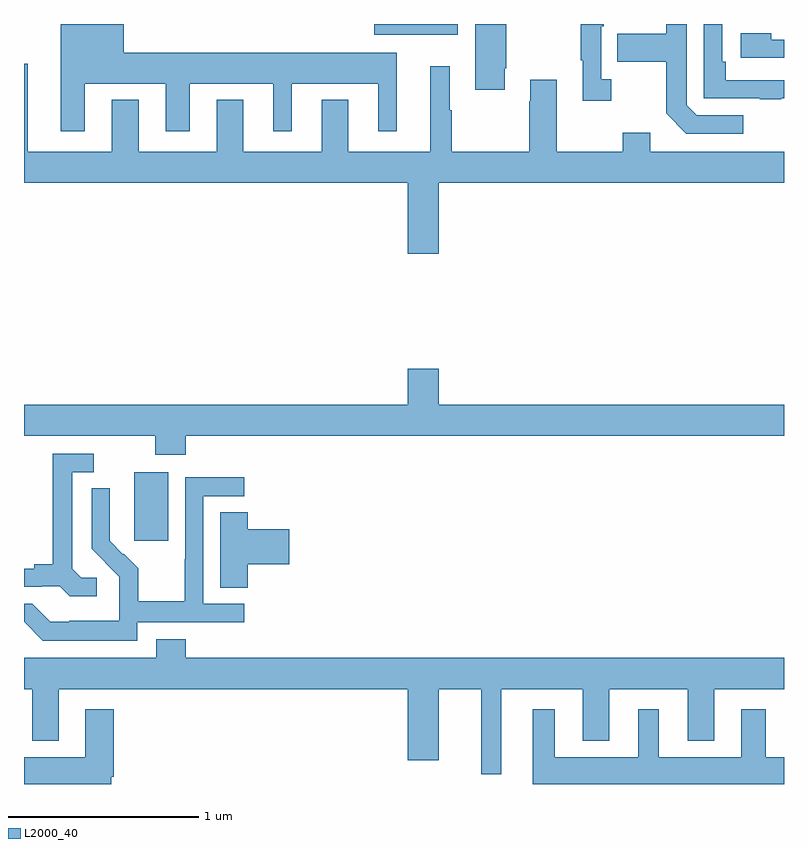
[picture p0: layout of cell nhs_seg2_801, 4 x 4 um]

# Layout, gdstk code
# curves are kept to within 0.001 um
import gdstk
lib = gdstk.Library(unit=1e-6, precision=1e-09)
def R(c, l, rs):  # rectangles x0, y0, x1, y1
    for r in rs: c.add(gdstk.rectangle(r[:2], r[2:], *l))
def P(c, l, *ps):  # polygons
    for p in ps: c.add(gdstk.Polygon(p, *l))
L2000_40 = (2000, 40)

nhs_seg2_801 = lib.new_cell('nhs_seg2_801')
R(nhs_seg2_801, L2000_40, [(151.58,651.081,151.759,651.442), (152.844,653.744,153.283,653.8)])
P(nhs_seg2_801, L2000_40, [(154.985,653.409),(155,653.409),(155,653.505),(154.694,653.505),(154.694,653.602),(154.674,653.602),(154.674,653.8),(154.578,653.8),(154.578,653.409),(154.873,653.409),(154.873,653.404),(154.985,653.404)],
  [(154.09,653.51),(154.038,653.51),(154.038,653.789),(154.051,653.789),(154.051,653.8),(153.93,653.8),(153.93,653.609),(153.941,653.609),(153.941,653.397),(154.09,653.397)],
  [(153.529,653.566),(153.537,653.566),(153.537,653.8),(153.374,653.8),(153.374,653.454),(153.529,653.454)],
  [(154.786,653.319),(154.542,653.319),(154.488,653.373),(154.488,653.8),(154.38,653.8),(154.38,653.749),(154.123,653.749),(154.123,653.602),(154.38,653.602),(154.38,653.329),(154.485,653.223),(154.786,653.223)],
  [(151.321,653.486),(151.745,653.486),(151.745,653.235),(151.873,653.235),(151.873,653.486),(152.312,653.486),(152.312,653.235),(152.41,653.235),(152.41,653.486),(152.864,653.486),(152.864,653.235),(152.962,653.235),(152.962,653.65),(151.525,653.65),(151.525,653.8),(151.193,653.8),(151.193,653.235),(151.321,653.235)],
  [(155,653.718),(154.934,653.718),(154.934,653.752),(154.773,653.752),(154.773,653.622),(155,653.622)],
  [(153.184,652.964),(155,652.964),(155,653.128),(154.297,653.128),(154.297,653.227),(154.15,653.227),(154.15,653.128),(153.805,653.128),(153.805,653.506),(153.665,653.506),(153.665,653.393),(153.658,653.393),(153.658,653.128),(153.251,653.128),(153.251,653.345),(153.241,653.345),(153.241,653.578),(153.137,653.578),(153.137,653.128),(152.707,653.128),(152.707,653.401),(152.567,653.401),(152.567,653.128),(152.155,653.128),(152.155,653.401),(152.015,653.401),(152.015,653.128),(151.603,653.128),(151.603,653.401),(151.463,653.401),(151.463,653.128),(151.021,653.128),(151.021,653.59),(151,653.59),(151,652.964),(153.02,652.964),(153.02,652.59),(153.184,652.59)],
  [(151.85,651.632),(155,651.632),(155,651.796),(153.184,651.796),(153.184,651.985),(153.02,651.985),(153.02,651.796),(151,651.796),(151,651.632),(151.69,651.632),(151.69,651.533),(151.85,651.533)],
  [(151.384,650.886),(151.302,650.886),(151.255,650.933),(151.255,651.441),(151.366,651.441),(151.366,651.537),(151.151,651.537),(151.151,650.957),(151.055,650.957),(151.055,650.934),(151,650.934),(151,650.838),(151.094,650.838),(151.094,650.841),(151.188,650.841),(151.24,650.789),(151.384,650.789)],
  [(151.596,650.652),(152.158,650.652),(152.158,650.748),(151.944,650.748),(151.944,651.315),(152.158,651.315),(152.158,651.414),(151.848,651.414),(151.848,650.984),(151.846,650.984),(151.846,650.761),(151.601,650.761),(151.601,650.935),(151.524,651.012),(151.521,651.009),(151.451,651.08),(151.452,651.356),(151.356,651.356),(151.356,651.038),(151.502,650.89),(151.502,650.793),(151.5,650.793),(151.5,650.659),(151.237,650.659),(151.237,650.655),(151.137,650.655),(151.044,650.748),(151,650.748),(151,650.654),(151.099,650.555),(151.596,650.555)],
  [(152.177,650.957),(152.395,650.957),(152.395,651.14),(152.177,651.14),(152.177,651.23),(152.033,651.23),(152.033,650.833),(152.177,650.833)],
  [(153.511,650.3),(153.941,650.3),(153.941,650.027),(154.081,650.027),(154.081,650.3),(154.493,650.3),(154.493,650.027),(154.633,650.027),(154.633,650.3),(155,650.3),(155,650.464),(151.85,650.464),(151.85,650.563),(151.697,650.563),(151.697,650.464),(151,650.464),(151,650.3),(151.043,650.3),(151.043,650.027),(151.183,650.027),(151.183,650.3),(153.02,650.3),(153.02,649.926),(153.184,649.926),(153.184,650.3),(153.407,650.3),(153.407,649.851),(153.511,649.851)],
  [(151.459,649.838),(151.472,649.838),(151.472,650.194),(151.322,650.194),(151.322,649.942),(151,649.942),(151,649.8),(151.459,649.8)],
  [(155,649.942),(154.903,649.942),(154.903,650.194),(154.775,650.194),(154.775,649.942),(154.342,649.942),(154.342,650.194),(154.232,650.194),(154.232,649.942),(153.793,649.942),(153.793,650.194),(153.677,650.194),(153.677,649.8),(155,649.8)])

lib.write_gds('nhs_seg2_801.gds')
